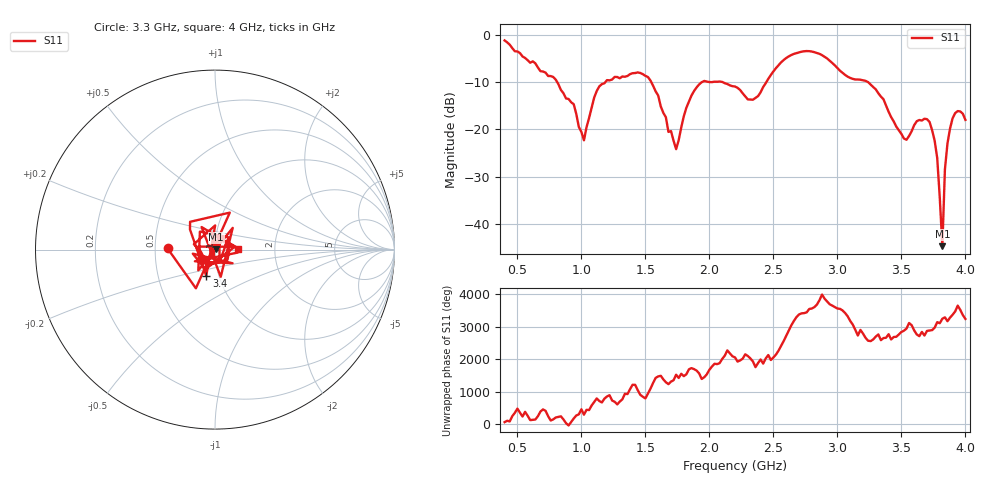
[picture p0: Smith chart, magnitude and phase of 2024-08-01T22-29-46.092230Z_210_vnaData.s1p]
!Created with skrf (http://scikit-rf.org).
# Hz S RI R 50.0
!freq ReS11 ImS11
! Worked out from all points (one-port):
!   181 points, 400 MHz to 4 GHz, reference 50 ohm
!   lowest |S11| = -44.6 dB at 3.82 GHz (marker M1), VSWR 1.01, Z = 50.6 + j0.0772 ohm
!   |S11| at or under -10 dB: 810.3 MHz to 1.188 GHz (377.5 MHz wide, 37.8 % of centre); 1.545 GHz to 1.943 GHz (397.8 MHz wide, 22.8 % of centre); 3.238 GHz to end of sweep (the widest 3 of 5)
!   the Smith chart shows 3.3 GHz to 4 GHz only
!   S11 on the Smith chart (normalised r, x): 3.3 GHz: 0.58, +0.01; 3.4 GHz: 0.87, -0.26; 4 GHz: 1.29, +0.01
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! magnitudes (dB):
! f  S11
! 400 MHz  -1.2
! 860 MHz  -12.4
! 940 MHz  -14.7
! 1.02 GHz  -22.3
! 1.14 GHz  -10.9
! 1.3 GHz  -9.2
! 1.52 GHz  -9.0
! 1.74 GHz  -24.2
! 1.76 GHz  -22.3
! 1.82 GHz  -15.4
! 1.92 GHz  -10.5
! 2.2 GHz  -11.0
! 2.34 GHz  -13.7
! 2.66 GHz  -4.1
! 2.86 GHz  -4.1
! 3.1 GHz  -9.1
! 3.3 GHz  -11.6
! 3.4 GHz  -16.3
! 3.52 GHz  -21.9
! 3.56 GHz  -21.4
! 3.64 GHz  -18.0
! 3.74 GHz  -20.2
! 3.78 GHz  -26.1
! 3.82 GHz  -44.6
! 3.84 GHz  -28.4
! 3.88 GHz  -19.8
! 3.94 GHz  -16.1
! 4 GHz  -18.0
